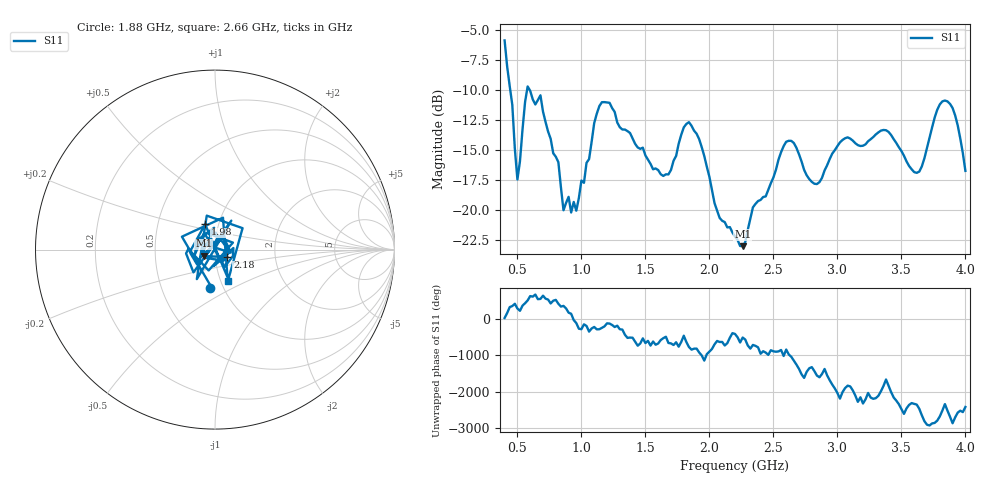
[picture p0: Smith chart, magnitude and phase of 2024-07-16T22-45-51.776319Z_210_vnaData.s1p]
!Created with skrf (http://scikit-rf.org).
# Hz S RI R 50.0
!freq ReS11 ImS11
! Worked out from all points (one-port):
!   181 points, 400 MHz to 4 GHz, reference 50 ohm
!   lowest |S11| = -23.0 dB at 2.26 GHz (marker M1), VSWR 1.15, Z = 44.1 - j3.02 ohm
!   |S11| at or under -10 dB: 444.3 MHz to 575.1 MHz (130.7 MHz wide, 25.7 % of centre); 597.4 MHz to end of sweep
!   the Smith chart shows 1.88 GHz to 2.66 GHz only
!   S11 on the Smith chart (normalised r, x): 1.88 GHz: 0.86, -0.39; 1.98 GHz: 0.86, +0.25; 2.18 GHz: 1.14, -0.10; 2.66 GHz: 1.08, -0.40
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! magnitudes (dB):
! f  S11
! 400 MHz  -5.9
! 460 MHz  -11.2
! 500 MHz  -17.4
! 580 MHz  -9.7
! 680 MHz  -10.4
! 820 MHz  -16.0
! 860 MHz  -20.0
! 960 MHz  -20.0
! 1.16 GHz  -11.0
! 1.3 GHz  -13.1
! 1.64 GHz  -17.1
! 1.76 GHz  -14.5
! 1.88 GHz  -13.4
! 1.98 GHz  -16.4
! 2.08 GHz  -20.6
! 2.18 GHz  -21.8
! 2.2 GHz  -22.2
! 2.26 GHz  -23.0
! 2.34 GHz  -19.8
! 2.66 GHz  -14.4
! 2.84 GHz  -17.8
! 3.1 GHz  -14.0
! 3.38 GHz  -13.3
! 3.56 GHz  -16.3
! 3.64 GHz  -16.8
! 3.84 GHz  -10.9
! 3.92 GHz  -12.1
! 4 GHz  -16.7
